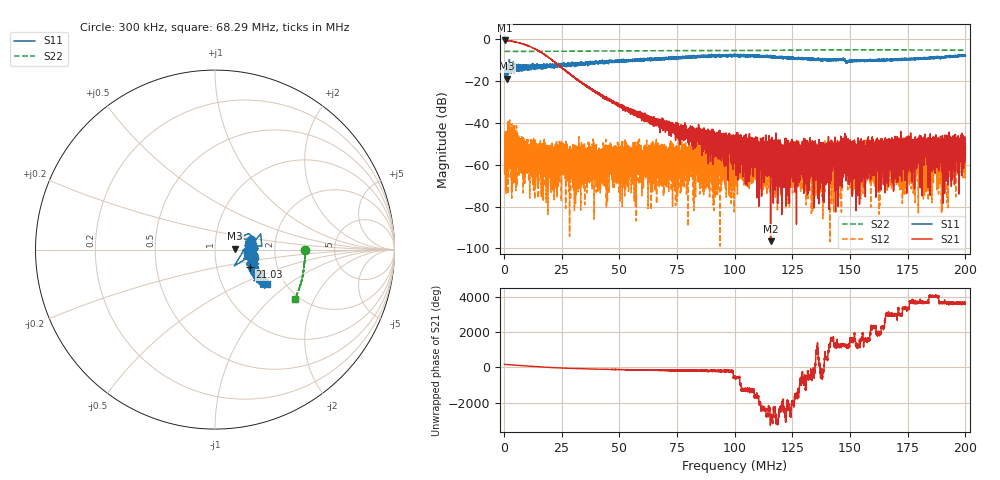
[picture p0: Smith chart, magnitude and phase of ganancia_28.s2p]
# Hz S DB R 50
! CMT, M5065, 19127446, 24.2.4/2
! Date: 11/8/2024 6:38:27 PM
! Data: Format (Calibration Info)
! Freq	S11:dB/Ang(F2)	S21:dB/Ang(F2)	S12:dB/Ang(F2)	S22:dB/Ang(F2)
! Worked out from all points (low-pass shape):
!   9000 points, 300 kHz to 200 MHz, reference 50 ohm
!   highest |S21| = -0.76 dB at 411 kHz (marker M1); lowest = -96.6 dB at 115.6 MHz (marker M2)
!   |S21| within 3 dB of the highest: start of sweep to 11.47 MHz
!   lowest |S11| = -19.1 dB at 1.432 MHz (marker M3), VSWR 1.25, Z = 62.5 + j0.752 ohm
!   |S11| at or under -10 dB: start of sweep to 2.363 MHz; 2.365 MHz to 49.41 MHz (47.04 MHz wide, 182 % of centre); 147.7 MHz to 151.7 MHz (3.98 MHz wide, 2.66 % of centre)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
!   |S22| runs from -6.0 to -5.2 dB; largest |S21 - S12| = 0.92
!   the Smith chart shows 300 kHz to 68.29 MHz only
!   S11 on the Smith chart (normalised r, x): 300 kHz: 1.49, +0.16; 21.03 MHz: 1.45, -0.29; 68.29 MHz: 1.62, -0.70
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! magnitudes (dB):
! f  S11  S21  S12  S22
! 300 kHz  -13.7  -0.8  -64.1  -6.0
! 411 kHz  -13.4  -0.8  -52.1  -6.0
! 1.432 MHz  -19.1  -0.9  -56.1  -6.0
! 21.03 MHz  -13.2  -10.3  -53.8  -5.9
! 31.43 MHz  -12.4  -19.1  -61.3  -5.9
! 33.59 MHz  -11.7  -20.9  -69.8  -5.9
! 56.42 MHz  -10.0  -35.9  -51.3  -5.7
! 58.57 MHz  -10.2  -36.7  -60.6  -5.7
! 66.87 MHz  -8.9  -41.5  -54.2  -5.7
! 68.29 MHz  -9.3  -40.6  -65.5  -5.6
! 100.2 MHz  -7.9  -49.6  -69.5  -5.6
! 115.6 MHz  -8.6  -96.6  -54.5  -5.5
! 133.4 MHz  -9.3  -54.1  -58.5  -5.3
! 138.6 MHz  -10.0  -51.4  -60.6  -5.3
! 142.6 MHz  -9.8  -53.3  -56.0  -5.2
! 144.6 MHz  -9.6  -52.9  -55.1  -5.2
! 147.7 MHz  -10.4  -56.1  -53.9  -5.2
! 150.3 MHz  -10.8  -53.6  -49.3  -5.2
! 166.7 MHz  -10.2  -59.1  -58.3  -5.2
! 179.8 MHz  -9.8  -50.1  -54.8  -5.3
! 183.1 MHz  -9.3  -49.2  -62.0  -5.3
! 200 MHz  -8.0  -50.0  -51.6  -5.4
